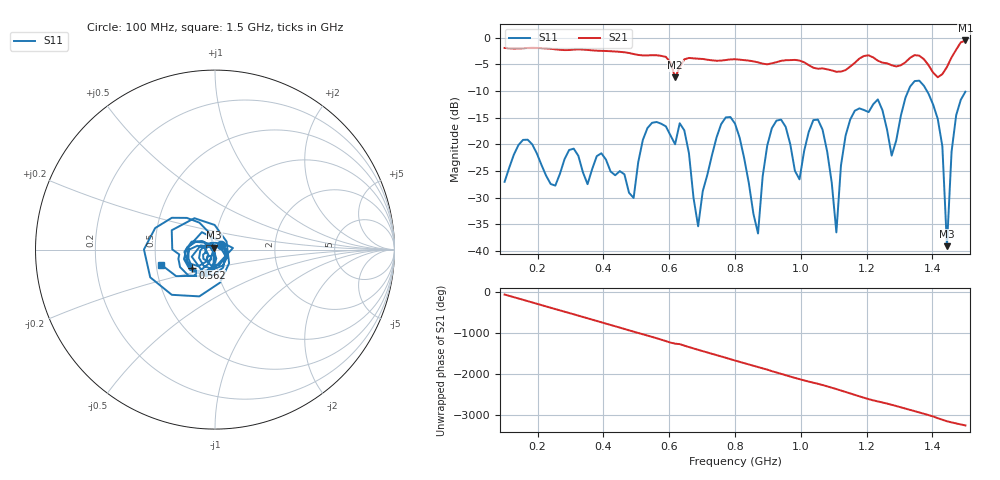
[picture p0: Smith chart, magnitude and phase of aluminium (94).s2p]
! NanoVNA-App
! Date: 2025-09-25 14:56:00
! Start: 100MHz Stop: 1,5GHz Points: 101
! S-Parameter data: F S11 S21 S12 S22
# Hz S RI R 50
!  Frequency  S11_Real  S11_Imag  S21_Real  S21_Imag  S12_Real  S12_Imag  S22_Real  S22_Imag
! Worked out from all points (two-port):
!   101 points, 100 MHz to 1.5 GHz, reference 50 ohm
!   highest |S21| = -0.51 dB at 1.5 GHz (marker M1); lowest = -7.4 dB at 618 MHz (marker M2)
!   |S21| within 3 dB of the highest: start of sweep to 584 MHz; 1.46 GHz to end of sweep (the widest 2 of 4)
!   lowest |S11| = -39.1 dB at 1.444 GHz (marker M3), VSWR 1.02, Z = 49.6 + j1.03 ohm
!   |S11| at or under -10 dB: start of sweep to 1.326 GHz; 1.383 GHz to end of sweep
!   S12 and S22 are empty: the file has one direction only
!   S11 on the Smith chart (normalised r, x): 100 MHz: 1.07, +0.06; 562 MHz: 0.76, -0.16; 1.5 GHz: 0.53, -0.10
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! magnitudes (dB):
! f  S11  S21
! 100 MHz  -27.0  -1.9
! 156 MHz  -19.1  -2.0
! 338 MHz  -25.2  -2.2
! 492 MHz  -30.0  -3.1
! 562 MHz  -15.8  -3.3
! 576 MHz  -16.1  -3.4
! 618 MHz  -20.0  -7.4
! 646 MHz  -17.4  -4.1
! 688 MHz  -35.3  -3.9
! 800 MHz  -16.1  -4.0
! 870 MHz  -36.7  -4.6
! 912 MHz  -16.9  -4.8
! 996 MHz  -26.5  -4.3
! 1.038 GHz  -15.4  -5.6
! 1.108 GHz  -36.5  -6.4
! 1.164 GHz  -13.7  -4.7
! 1.276 GHz  -22.1  -5.2
! 1.374 GHz  -9.0  -4.0
! 1.43 GHz  -20.3  -6.8
! 1.444 GHz  -39.1  -5.5
! 1.458 GHz  -21.4  -3.7
! 1.5 GHz  -10.1  -0.5
